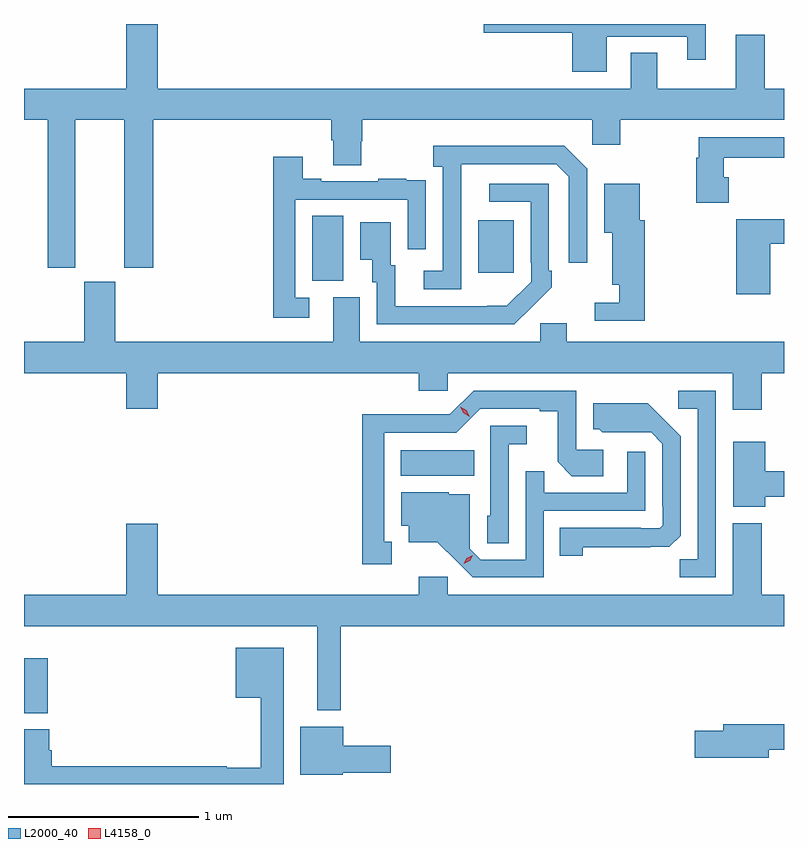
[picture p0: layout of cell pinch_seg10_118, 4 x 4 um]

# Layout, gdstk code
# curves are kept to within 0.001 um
import gdstk
lib = gdstk.Library(unit=1e-6, precision=1e-09)
def R(c, l, rs):  # rectangles x0, y0, x1, y1
    for r in rs: c.add(gdstk.rectangle(r[:2], r[2:], *l))
def P(c, l, *ps):  # polygons
    for p in ps: c.add(gdstk.Polygon(p, *l))
L2000_40 = (2000, 40)
L4158_0 = (4158, 0)

pinch_seg10_118 = lib.new_cell('pinch_seg10_118')
R(pinch_seg10_118, L2000_40, [(715.917,1281.209,716.042,1281.499), (717.899,1282.46,718.286,1282.594), (717.434,1283.485,717.598,1283.828), (718.307,1283.529,718.495,1283.803)])
P(pinch_seg10_118, L2000_40, [(718.984,1284.771),(719.408,1284.771),(719.408,1284.648),(719.506,1284.648),(719.506,1284.837),(718.338,1284.837),(718.338,1284.79),(718.802,1284.79),(718.802,1284.587),(718.984,1284.587)],
  [(715.917,1284.332),(716.041,1284.332),(716.041,1283.553),(716.188,1283.553),(716.188,1284.332),(716.444,1284.332),(716.444,1283.553),(716.597,1283.553),(716.597,1284.332),(717.533,1284.332),(717.533,1284.226),(717.545,1284.226),(717.545,1284.094),(717.693,1284.094),(717.693,1284.219),(717.698,1284.219),(717.698,1284.332),(718.908,1284.332),(718.908,1284.201),(719.055,1284.201),(719.055,1284.332),(719.917,1284.332),(719.917,1284.496),(719.816,1284.496),(719.816,1284.781),(719.663,1284.781),(719.663,1284.496),(719.251,1284.496),(719.251,1284.686),(719.111,1284.686),(719.111,1284.496),(716.62,1284.496),(716.62,1284.837),(716.456,1284.837),(716.456,1284.496),(715.917,1284.496)],
  [(719.627,1284.031),(719.599,1284.031),(719.599,1284.132),(719.917,1284.132),(719.917,1284.24),(719.467,1284.24),(719.467,1284.132),(719.456,1284.132),(719.456,1283.897),(719.627,1283.897)],
  [(718.218,1283.899),(718.219,1284.099),(718.719,1284.099),(718.785,1284.033),(718.785,1283.58),(718.881,1283.58),(718.881,1284.075),(718.76,1284.196),(718.071,1284.196),(718.071,1284.086),(718.122,1284.086),(718.122,1283.538),(718.02,1283.538),(718.02,1283.442),(718.218,1283.442)],
  [(717.418,1283.397),(717.345,1283.397),(717.345,1283.913),(717.936,1283.913),(717.936,1283.652),(718.032,1283.652),(718.032,1283.906),(718.031,1283.906),(718.031,1284.015),(717.929,1284.015),(717.929,1284.022),(717.781,1284.022),(717.781,1284.009),(717.481,1284.009),(717.481,1284.022),(717.385,1284.022),(717.385,1284.139),(717.229,1284.139),(717.229,1283.292),(717.418,1283.292)],
  [(718.589,1283.347),(718.59,1283.346),(718.695,1283.451),(718.695,1283.539),(718.68,1283.539),(718.68,1283.997),(718.365,1283.997),(718.365,1283.901),(718.584,1283.901),(718.584,1283.581),(718.587,1283.581),(718.587,1283.481),(718.459,1283.353),(717.871,1283.352),(717.871,1283.568),(717.847,1283.568),(717.847,1283.794),(717.686,1283.794),(717.686,1283.597),(717.749,1283.597),(717.749,1283.478),(717.774,1283.478),(717.774,1283.256),(718.498,1283.256)],
  [(719.183,1283.805),(719.158,1283.805),(719.158,1283.995),(718.97,1283.995),(718.97,1283.738),(719.012,1283.738),(719.012,1283.465),(719.049,1283.465),(719.049,1283.37),(718.92,1283.37),(718.92,1283.274),(719.183,1283.274)],
  [(719.844,1283.68),(719.917,1283.68),(719.917,1283.809),(719.666,1283.809),(719.666,1283.415),(719.844,1283.415)],
  [(718.635,1283.262),(718.635,1283.164),(717.685,1283.164),(717.685,1283.4),(717.545,1283.4),(717.545,1283.164),(716.398,1283.164),(716.398,1283.481),(716.234,1283.481),(716.234,1283.164),(715.917,1283.164),(715.917,1283),(716.456,1283),(716.456,1282.812),(716.62,1282.812),(716.62,1283),(717.995,1283),(717.995,1282.907),(718.146,1282.907),(718.146,1283),(719.648,1283),(719.648,1282.806),(719.801,1282.806),(719.801,1283),(719.917,1283),(719.917,1283.164),(718.774,1283.164),(718.774,1283.262)],
  [(717.853,1282.113),(717.814,1282.113),(717.814,1282.686),(718.191,1282.686),(718.317,1282.812),(718.631,1282.812),(718.631,1282.8),(718.725,1282.8),(718.725,1282.532),(718.801,1282.456),(718.966,1282.456),(718.966,1282.596),(718.824,1282.596),(718.824,1282.908),(718.284,1282.908),(718.158,1282.782),(717.936,1282.782),(717.936,1282.784),(717.696,1282.784),(717.696,1281.993),(717.853,1281.993)],
  [(719.559,1282.908),(719.361,1282.908),(719.361,1282.812),(719.463,1282.812),(719.463,1282.019),(719.368,1282.019),(719.368,1281.924),(719.559,1281.924)],
  [(718.857,1282.084),(719.314,1282.085),(719.373,1282.144),(719.373,1282.666),(719.201,1282.84),(718.913,1282.84),(718.913,1282.704),(718.944,1282.704),(718.96,1282.688),(719.217,1282.689),(719.277,1282.629),(719.277,1282.3),(719.28,1282.3),(719.28,1282.2),(719.262,1282.182),(719.162,1282.182),(719.162,1282.185),(718.738,1282.185),(718.738,1282.038),(718.857,1282.038)],
  [(718.467,1282.625),(718.564,1282.625),(718.564,1282.722),(718.371,1282.722),(718.371,1282.248),(718.356,1282.248),(718.356,1282.105),(718.467,1282.105)],
  [(719.818,1282.348),(719.917,1282.348),(719.917,1282.484),(719.818,1282.484),(719.818,1282.639),(719.651,1282.639),(719.651,1282.295),(719.818,1282.295)],
  [(718.653,1282.275),(719.187,1282.275),(719.187,1282.585),(719.091,1282.585),(719.091,1282.371),(718.655,1282.371),(718.655,1282.484),(718.557,1282.484),(718.557,1282.017),(718.32,1282.017),(718.263,1282.074),(718.263,1282.363),(718.152,1282.363),(718.152,1282.372),(717.902,1282.372),(717.902,1282.196),(717.941,1282.196),(717.941,1282.109),(718.093,1282.109),(718.28,1281.924),(718.653,1281.924)],
  [(717.583,1281.668),(719.917,1281.668),(719.917,1281.832),(719.801,1281.832),(719.801,1282.21),(719.648,1282.21),(719.648,1281.832),(718.146,1281.832),(718.146,1281.928),(717.995,1281.928),(717.995,1281.832),(716.62,1281.832),(716.62,1282.207),(716.456,1282.207),(716.456,1281.832),(715.917,1281.832),(715.917,1281.668),(717.461,1281.668),(717.461,1281.224),(717.583,1281.224)],
  [(717.283,1281.553),(717.032,1281.553),(717.032,1281.29),(717.162,1281.29),(717.162,1280.923),(716.983,1280.923),(716.983,1280.93),(716.063,1280.93),(716.063,1281.014),(716.05,1281.014),(716.05,1281.124),(715.917,1281.124),(715.917,1280.837),(717.283,1280.837)],
  [(719.836,1281.016),(719.917,1281.016),(719.917,1281.152),(719.597,1281.152),(719.597,1281.116),(719.448,1281.116),(719.448,1280.974),(719.836,1280.974)],
  [(717.594,1280.896),(717.847,1280.896),(717.847,1281.038),(717.598,1281.038),(717.598,1281.139),(717.371,1281.139),(717.371,1280.885),(717.594,1280.885)])
P(pinch_seg10_118, L4158_0, [(718.231,1281.996),(718.231,1281.996),(718.248,1282.026),(718.279,1282.041),(718.279,1282.041),(718.279,1282.041),(718.262,1282.011),(718.232,1281.996)],
  [(718.262,1282.77),(718.23,1282.79),(718.213,1282.822),(718.213,1282.823),(718.213,1282.823),(718.245,1282.803),(718.262,1282.77),(718.262,1282.77)])

lib.write_gds('pinch_seg10_118.gds')
